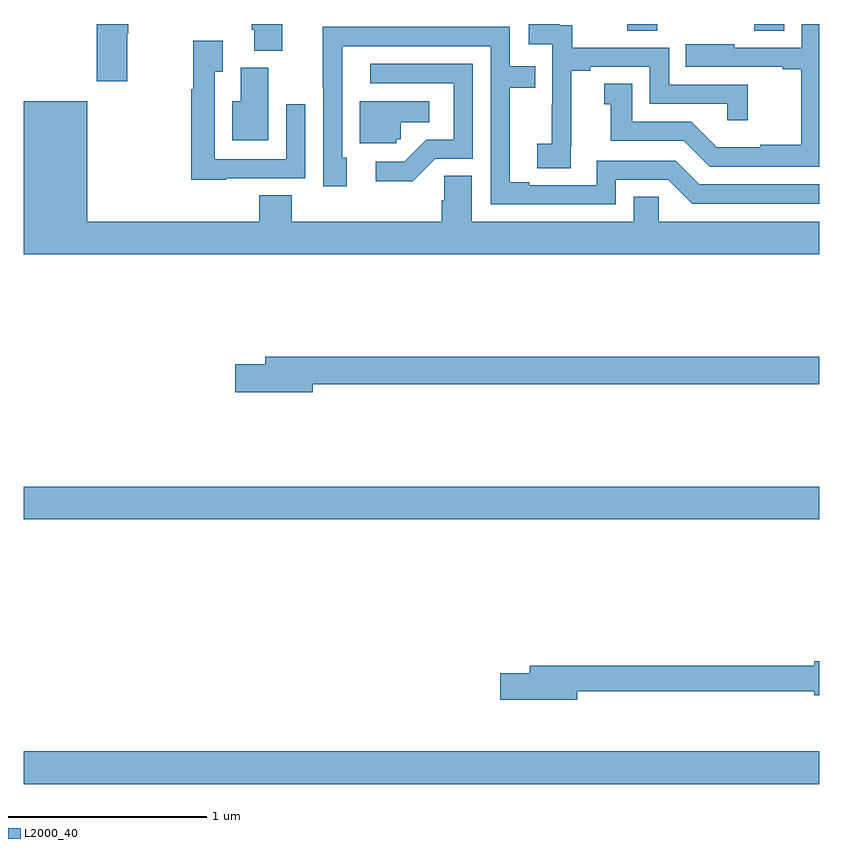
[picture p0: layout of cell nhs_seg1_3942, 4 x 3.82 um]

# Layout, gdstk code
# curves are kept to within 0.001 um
import gdstk
lib = gdstk.Library(unit=1e-6, precision=1e-09)
def R(c, l, rs):  # rectangles x0, y0, x1, y1
    for r in rs: c.add(gdstk.rectangle(r[:2], r[2:], *l))
def P(c, l, *ps):  # polygons
    for p in ps: c.add(gdstk.Polygon(p, *l))
L2000_40 = (2000, 40)

nhs_seg1_3942 = lib.new_cell('nhs_seg1_3942')
R(nhs_seg1_3942, L2000_40, [(325,574.376,329,574.54), (325,575.708,329,575.872), (328.034,578.164,328.187,578.199), (328.673,578.164,328.825,578.199)])
P(nhs_seg1_3942, L2000_40, [(329,578.199),(328.914,578.199),(328.914,578.079),(328.573,578.079),(328.573,578.098),(328.33,578.098),(328.33,577.983),(328.817,577.983),(328.817,577.971),(328.909,577.971),(328.909,577.591),(328.703,577.591),(328.703,577.579),(328.484,577.579),(328.356,577.707),(328.06,577.707),(328.06,577.898),(327.92,577.898),(327.92,577.795),(327.953,577.795),(327.953,577.611),(328.32,577.611),(328.449,577.482),(329,577.482)],
  [(327.752,577.585),(327.754,577.585),(327.754,577.963),(327.85,577.963),(327.85,577.983),(328.149,577.983),(328.149,577.797),(328.539,577.797),(328.539,577.716),(328.64,577.716),(328.64,577.893),(328.245,577.893),(328.245,578.079),(327.758,578.079),(327.758,578.193),(327.696,578.193),(327.696,578.199),(327.54,578.199),(327.54,578.097),(327.657,578.097),(327.657,577.793),(327.656,577.793),(327.656,577.596),(327.582,577.596),(327.582,577.474),(327.752,577.474)],
  [(325.521,578.15),(325.526,578.15),(325.526,578.199),(325.366,578.199),(325.366,577.911),(325.521,577.911)],
  [(326.299,578.199),(326.147,578.199),(326.147,578.17),(326.159,578.17),(326.159,578.065),(326.299,578.065)],
  [(327.978,577.416),(328.242,577.416),(328.362,577.296),(329,577.296),(329,577.392),(328.398,577.392),(328.278,577.512),(327.882,577.512),(327.882,577.389),(327.541,577.389),(327.541,577.404),(327.445,577.404),(327.445,577.878),(327.572,577.878),(327.572,577.986),(327.444,577.986),(327.444,578.184),(326.966,578.184),(326.966,578.186),(326.504,578.186),(326.505,577.383),(326.623,577.383),(326.623,577.527),(326.601,577.527),(326.601,578.088),(327.348,578.088),(327.348,577.293),(327.978,577.293)],
  [(326.019,577.422),(326.415,577.422),(326.415,577.795),(326.319,577.795),(326.319,577.518),(325.959,577.518),(325.959,577.96),(325.999,577.96),(325.999,578.116),(325.851,578.116),(325.851,577.871),(325.843,577.871),(325.843,577.415),(326.019,577.415)],
  [(327.069,577.521),(327.258,577.521),(327.258,577.998),(326.742,577.998),(326.742,577.902),(327.162,577.902),(327.162,577.617),(327.024,577.617),(326.913,577.506),(326.769,577.506),(326.769,577.409),(326.956,577.409)],
  [(326.23,577.98),(326.09,577.98),(326.09,577.81),(326.048,577.81),(326.048,577.613),(326.23,577.613)],
  [(326.874,577.62),(326.895,577.62),(326.895,577.706),(327.04,577.706),(327.04,577.81),(326.69,577.81),(326.69,577.599),(326.874,577.599)],
  [(329,577.204),(328.194,577.204),(328.194,577.331),(328.067,577.331),(328.067,577.204),(327.253,577.204),(327.253,577.436),(327.114,577.436),(327.114,577.313),(327.101,577.313),(327.101,577.204),(326.348,577.204),(326.348,577.337),(326.183,577.337),(326.183,577.204),(325.318,577.204),(325.318,577.81),(325,577.81),(325,577.04),(329,577.04)],
  [(326.452,576.388),(329,576.388),(329,576.524),(326.213,576.524),(326.213,576.488),(326.064,576.488),(326.064,576.346),(326.452,576.346)],
  [(327.784,574.842),(328.976,574.842),(328.976,574.823),(329,574.823),(329,574.994),(328.976,574.994),(328.976,574.97),(327.545,574.97),(327.545,574.934),(327.396,574.934),(327.396,574.799),(327.784,574.799)])

lib.write_gds('nhs_seg1_3942.gds')
